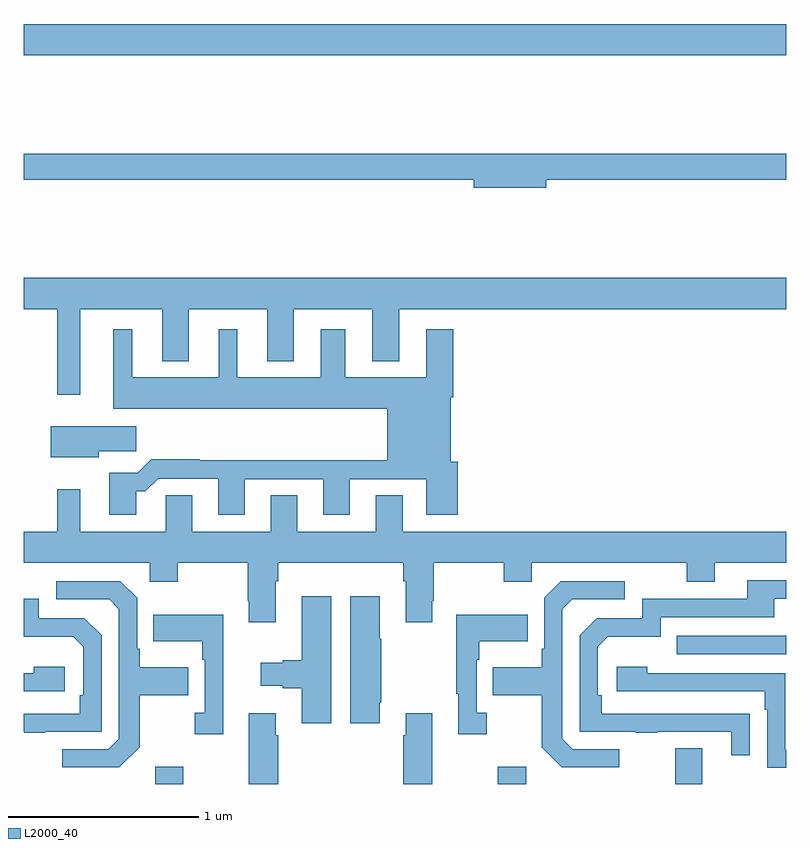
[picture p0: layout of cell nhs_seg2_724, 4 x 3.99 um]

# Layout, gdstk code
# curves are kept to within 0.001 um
import gdstk
lib = gdstk.Library(unit=1e-6, precision=1e-09)
def R(c, l, rs):  # rectangles x0, y0, x1, y1
    for r in rs: c.add(gdstk.rectangle(r[:2], r[2:], *l))
def P(c, l, *ps):  # polygons
    for p in ps: c.add(gdstk.Polygon(p, *l))
L2000_40 = (2000, 40)

nhs_seg2_724 = lib.new_cell('nhs_seg2_724')
R(nhs_seg2_724, L2000_40, [(147.689,655.8,147.837,655.891), (149.488,655.8,149.635,655.891), (150.419,655.8,150.559,655.987), (150.427,656.481,151,656.577), (147,659.624,151,659.788)])
P(nhs_seg2_724, L2000_40, [(149.74,658.972),(151,658.972),(151,659.108),(147,659.108),(147,658.972),(149.36,658.972),(149.36,658.93),(149.74,658.93)],
  [(147.295,658.292),(147.725,658.292),(147.725,658.019),(147.865,658.019),(147.865,658.292),(148.277,658.292),(148.277,658.019),(148.417,658.019),(148.417,658.292),(148.829,658.292),(148.829,658.019),(148.969,658.019),(148.969,658.292),(151,658.292),(151,658.456),(147,658.456),(147,658.292),(147.174,658.292),(147.174,657.843),(147.295,657.843)],
  [(147.589,657.335),(147.638,657.335),(147.705,657.402),(148.019,657.402),(148.019,657.213),(148.159,657.213),(148.159,657.399),(148.571,657.399),(148.571,657.213),(148.711,657.213),(148.711,657.399),(149.111,657.399),(149.111,657.213),(149.276,657.213),(149.276,657.492),(149.239,657.492),(149.239,657.83),(149.252,657.83),(149.252,658.186),(149.111,658.186),(149.111,657.934),(148.687,657.934),(148.687,658.186),(148.559,658.186),(148.559,657.934),(148.12,657.934),(148.12,658.186),(148.022,658.186),(148.022,657.934),(147.568,657.934),(147.568,658.186),(147.47,658.186),(147.47,657.77),(148.907,657.77),(148.907,657.5),(147.923,657.5),(147.923,657.503),(147.668,657.503),(147.598,657.433),(147.449,657.433),(147.449,657.213),(147.589,657.213)],
  [(147.394,657.547),(147.589,657.547),(147.589,657.676),(147.14,657.676),(147.14,657.515),(147.394,657.515)],
  [(148.321,656.864),(148.334,656.864),(148.334,656.96),(148.991,656.96),(148.991,656.864),(149.003,656.864),(149.003,656.649),(149.143,656.649),(149.143,656.761),(149.151,656.761),(149.151,656.96),(149.518,656.96),(149.518,656.861),(149.664,656.861),(149.664,656.96),(150.478,656.96),(150.478,656.861),(150.625,656.861),(150.625,656.96),(151,656.96),(151,657.124),(148.987,657.124),(148.987,657.314),(148.847,657.314),(148.847,657.124),(148.435,657.124),(148.435,657.314),(148.295,657.314),(148.295,657.124),(147.883,657.124),(147.883,657.314),(147.744,657.314),(147.744,657.124),(147.295,657.124),(147.295,657.346),(147.174,657.346),(147.174,657.124),(147,657.124),(147,656.96),(147.66,656.96),(147.66,656.861),(147.807,656.861),(147.807,656.96),(148.174,656.96),(148.174,656.761),(148.181,656.761),(148.181,656.649),(148.321,656.649)],
  [(150.809,656.168),(150.032,656.169),(150.032,656.266),(150.012,656.266),(150.012,656.52),(150.065,656.573),(150.342,656.573),(150.342,656.676),(150.937,656.676),(150.937,656.772),(151,656.772),(151,656.868),(150.797,656.868),(150.797,656.772),(150.246,656.772),(150.246,656.67),(150.006,656.67),(149.916,656.58),(149.916,656.073),(150.211,656.073),(150.211,656.068),(150.323,656.068),(150.323,656.073),(150.713,656.073),(150.713,655.95),(150.809,655.95)],
  [(147.607,655.993),(147.607,656.266),(147.863,656.266),(147.863,656.413),(147.607,656.413),(147.607,656.509),(147.594,656.509),(147.594,656.778),(147.507,656.865),(147.171,656.865),(147.171,656.769),(147.447,656.769),(147.498,656.718),(147.498,656.037),(147.444,655.983),(147.201,655.983),(147.201,655.887),(147.501,655.887)],
  [(150.124,655.983),(149.88,655.983),(149.826,656.037),(149.826,656.718),(149.877,656.769),(150.154,656.769),(150.154,656.865),(149.817,656.865),(149.73,656.778),(149.73,656.509),(149.718,656.509),(149.718,656.413),(149.461,656.413),(149.461,656.266),(149.718,656.266),(149.718,655.993),(149.823,655.887),(150.124,655.887)],
  [(148.612,656.785),(148.457,656.785),(148.457,656.45),(148.358,656.45),(148.358,656.437),(148.242,656.437),(148.242,656.315),(148.358,656.315),(148.358,656.303),(148.457,656.303),(148.457,656.118),(148.612,656.118)],
  [(148.867,656.23),(148.875,656.23),(148.875,656.561),(148.867,656.561),(148.867,656.785),(148.712,656.785),(148.712,656.118),(148.867,656.118)],
  [(147.113,656.073),(147.408,656.073),(147.408,656.58),(147.318,656.67),(147.078,656.67),(147.078,656.772),(147,656.772),(147,656.573),(147.259,656.573),(147.312,656.52),(147.312,656.266),(147.292,656.266),(147.292,656.169),(147,656.169),(147.001,656.068),(147.113,656.068)],
  [(148.046,656.689),(147.679,656.689),(147.679,656.549),(147.936,656.549),(147.936,656.453),(147.948,656.453),(147.948,656.174),(147.897,656.174),(147.897,656.061),(148.046,656.061)],
  [(149.428,656.174),(149.376,656.174),(149.376,656.453),(149.389,656.453),(149.389,656.549),(149.645,656.549),(149.645,656.689),(149.268,656.689),(149.268,656.273),(149.279,656.273),(149.279,656.061),(149.428,656.061)],
  [(151,655.98),(150.996,655.98),(150.996,656.382),(150.272,656.382),(150.272,656.416),(150.111,656.416),(150.111,656.286),(150.887,656.286),(150.887,656.189),(150.9,656.189),(150.9,655.884),(151,655.884)],
  [(147.214,656.416),(147.053,656.416),(147.053,656.382),(147,656.382),(147,656.286),(147.214,656.286)],
  [(148.334,656.057),(148.321,656.057),(148.321,656.17),(148.181,656.17),(148.181,655.8),(148.334,655.8)],
  [(149.143,656.17),(149.003,656.17),(149.003,656.057),(148.991,656.057),(148.991,655.8),(149.143,655.8)])

lib.write_gds('nhs_seg2_724.gds')
